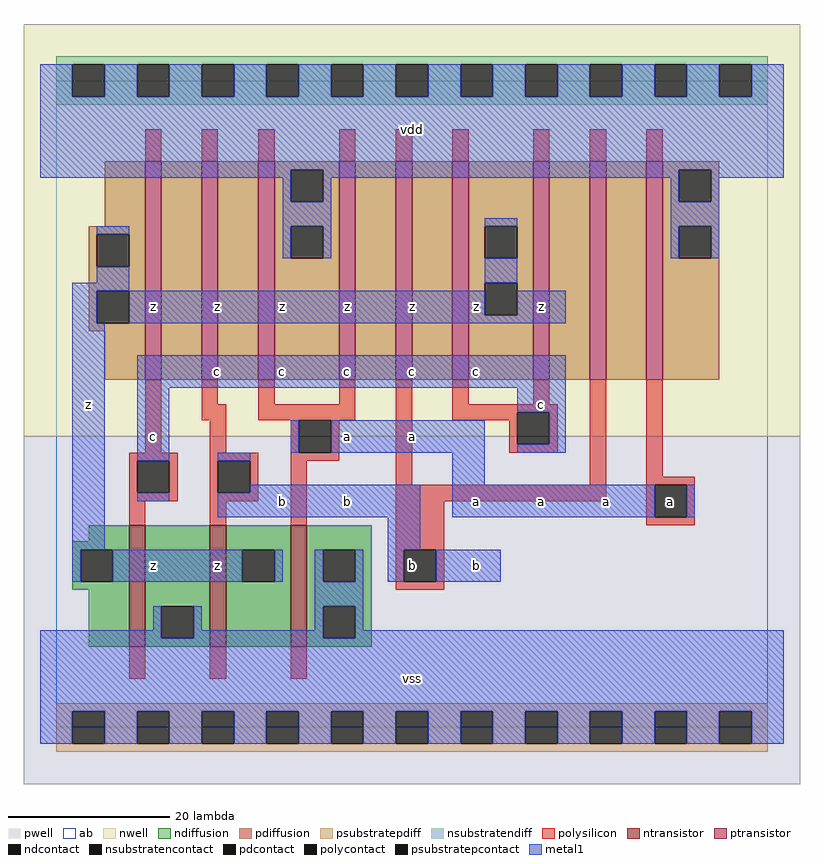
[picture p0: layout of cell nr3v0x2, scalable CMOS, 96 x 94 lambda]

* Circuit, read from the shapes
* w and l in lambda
.subckt nr3v0x2 a b c vdd vss z
M1 vss c z vss nfet w=15 l=2
M2 z b vss vss nfet w=15 l=2
M3 vss a z vss nfet w=15 l=2
M4 n1 c z vdd pfet w=27 l=2
M5 n2 b n1 vdd pfet w=27 l=2
M6 vdd a n2 vdd pfet w=27 l=2
M7 n3 a vdd vdd pfet w=27 l=2
M8 n4 b n3 vdd pfet w=27 l=2
M9 z c n4 vdd pfet w=27 l=2
M10 n5 c z vdd pfet w=27 l=2
M11 n6 b n5 vdd pfet w=27 l=2
M12 vdd a n6 vdd pfet w=27 l=2
.ends

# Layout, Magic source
magic
tech scmos
<< ab >>
rect 0 0 88 80
<< pwell >>
rect -4 -7 92 36
<< nwell >>
rect -4 36 92 87
<< polysilicon >>
rect 11 70 13 74
rect 18 70 20 74
rect 25 70 27 74
rect 35 70 37 74
rect 42 70 44 74
rect 49 70 51 74
rect 59 70 61 74
rect 66 70 68 74
rect 73 70 75 74
rect 11 34 13 43
rect 18 40 20 43
rect 25 40 27 43
rect 35 40 37 43
rect 18 38 21 40
rect 25 38 37 40
rect 19 34 21 38
rect 29 34 30 38
rect 34 34 35 38
rect 9 33 15 34
rect 9 29 10 33
rect 14 29 15 33
rect 9 28 15 29
rect 19 33 25 34
rect 19 29 20 33
rect 24 29 25 33
rect 19 28 25 29
rect 29 33 35 34
rect 9 25 11 28
rect 19 25 21 28
rect 29 25 31 33
rect 42 30 44 43
rect 49 40 51 43
rect 59 40 61 43
rect 49 39 62 40
rect 49 38 57 39
rect 56 35 57 38
rect 61 35 62 39
rect 56 34 62 35
rect 66 30 68 43
rect 42 28 68 30
rect 73 31 75 43
rect 73 30 79 31
rect 42 22 48 28
rect 73 26 74 30
rect 78 26 79 30
rect 73 25 79 26
rect 42 18 43 22
rect 47 18 48 22
rect 42 17 48 18
rect 9 6 11 10
rect 19 6 21 10
rect 29 6 31 10
<< ndiffusion >>
rect 4 23 9 25
rect 2 22 9 23
rect 2 18 3 22
rect 7 18 9 22
rect 2 17 9 18
rect 4 10 9 17
rect 11 15 19 25
rect 11 11 13 15
rect 17 11 19 15
rect 11 10 19 11
rect 21 22 29 25
rect 21 18 23 22
rect 27 18 29 22
rect 21 10 29 18
rect 31 22 39 25
rect 31 18 33 22
rect 37 18 39 22
rect 31 15 39 18
rect 31 11 33 15
rect 37 11 39 15
rect 31 10 39 11
<< pdiffusion >>
rect 6 62 11 70
rect 4 61 11 62
rect 4 57 5 61
rect 9 57 11 61
rect 4 54 11 57
rect 4 50 5 54
rect 9 50 11 54
rect 4 49 11 50
rect 6 43 11 49
rect 13 43 18 70
rect 20 43 25 70
rect 27 69 35 70
rect 27 65 29 69
rect 33 65 35 69
rect 27 62 35 65
rect 27 58 29 62
rect 33 58 35 62
rect 27 43 35 58
rect 37 43 42 70
rect 44 43 49 70
rect 51 62 59 70
rect 51 58 53 62
rect 57 58 59 62
rect 51 55 59 58
rect 51 51 53 55
rect 57 51 59 55
rect 51 43 59 51
rect 61 43 66 70
rect 68 43 73 70
rect 75 69 82 70
rect 75 65 77 69
rect 81 65 82 69
rect 75 62 82 65
rect 75 58 77 62
rect 81 58 82 62
rect 75 43 82 58
<< metal1 >>
rect -2 78 2 82
rect 6 78 10 82
rect 14 78 18 82
rect 22 78 26 82
rect 30 78 34 82
rect 38 78 42 82
rect 46 78 50 82
rect 54 78 58 82
rect 62 78 66 82
rect 70 78 74 82
rect 78 78 82 82
rect 86 78 90 82
rect -2 69 90 78
rect -2 68 29 69
rect 28 65 29 68
rect 33 68 77 69
rect 33 65 34 68
rect 28 62 34 65
rect 76 65 77 68
rect 81 68 90 69
rect 81 65 82 68
rect 5 61 9 62
rect 28 58 29 62
rect 33 58 34 62
rect 53 62 57 63
rect 76 62 82 65
rect 76 58 77 62
rect 81 58 82 62
rect 5 55 9 57
rect 2 54 9 55
rect 53 55 57 58
rect 2 50 5 54
rect 9 51 53 54
rect 57 51 63 54
rect 9 50 63 51
rect 2 22 6 50
rect 10 42 63 46
rect 10 33 14 42
rect 57 39 63 42
rect 29 34 30 38
rect 34 34 53 38
rect 61 35 63 39
rect 57 34 63 35
rect 10 28 14 29
rect 20 33 24 34
rect 49 30 53 34
rect 24 29 45 30
rect 20 26 45 29
rect 49 26 74 30
rect 78 26 79 30
rect 41 22 45 26
rect 2 18 3 22
rect 7 18 23 22
rect 27 18 28 22
rect 32 18 33 22
rect 37 18 38 22
rect 41 18 43 22
rect 47 18 55 22
rect 32 15 38 18
rect 12 12 13 15
rect -2 11 13 12
rect 17 12 18 15
rect 32 12 33 15
rect 17 11 33 12
rect 37 12 38 15
rect 37 11 90 12
rect -2 2 90 11
rect -2 -2 2 2
rect 6 -2 10 2
rect 14 -2 18 2
rect 22 -2 26 2
rect 30 -2 34 2
rect 38 -2 42 2
rect 46 -2 50 2
rect 54 -2 58 2
rect 62 -2 66 2
rect 70 -2 74 2
rect 78 -2 82 2
rect 86 -2 90 2
<< ntransistor >>
rect 9 10 11 25
rect 19 10 21 25
rect 29 10 31 25
<< ptransistor >>
rect 11 43 13 70
rect 18 43 20 70
rect 25 43 27 70
rect 35 43 37 70
rect 42 43 44 70
rect 49 43 51 70
rect 59 43 61 70
rect 66 43 68 70
rect 73 43 75 70
<< polycontact >>
rect 30 34 34 38
rect 10 29 14 33
rect 20 29 24 33
rect 57 35 61 39
rect 74 26 78 30
rect 43 18 47 22
<< ndcontact >>
rect 3 18 7 22
rect 13 11 17 15
rect 23 18 27 22
rect 33 18 37 22
rect 33 11 37 15
<< pdcontact >>
rect 5 57 9 61
rect 5 50 9 54
rect 29 65 33 69
rect 29 58 33 62
rect 53 58 57 62
rect 53 51 57 55
rect 77 65 81 69
rect 77 58 81 62
<< psubstratepcontact >>
rect 2 -2 6 2
rect 10 -2 14 2
rect 18 -2 22 2
rect 26 -2 30 2
rect 34 -2 38 2
rect 42 -2 46 2
rect 50 -2 54 2
rect 58 -2 62 2
rect 66 -2 70 2
rect 74 -2 78 2
rect 82 -2 86 2
<< nsubstratencontact >>
rect 2 78 6 82
rect 10 78 14 82
rect 18 78 22 82
rect 26 78 30 82
rect 34 78 38 82
rect 42 78 46 82
rect 50 78 54 82
rect 58 78 62 82
rect 66 78 70 82
rect 74 78 78 82
rect 82 78 86 82
<< psubstratepdiff >>
rect 0 2 88 3
rect 0 -2 2 2
rect 6 -2 10 2
rect 14 -2 18 2
rect 22 -2 26 2
rect 30 -2 34 2
rect 38 -2 42 2
rect 46 -2 50 2
rect 54 -2 58 2
rect 62 -2 66 2
rect 70 -2 74 2
rect 78 -2 82 2
rect 86 -2 88 2
rect 0 -3 88 -2
<< nsubstratendiff >>
rect 0 82 88 83
rect 0 78 2 82
rect 6 78 10 82
rect 14 78 18 82
rect 22 78 26 82
rect 30 78 34 82
rect 38 78 42 82
rect 46 78 50 82
rect 54 78 58 82
rect 62 78 66 82
rect 70 78 74 82
rect 78 78 82 82
rect 86 78 88 82
rect 0 77 88 78
<< labels >>
rlabel metal1 12 20 12 20 6 z
rlabel metal1 4 40 4 40 6 z
rlabel metal1 12 36 12 36 6 c
rlabel metal1 12 52 12 52 6 z
rlabel metal1 20 20 20 20 6 z
rlabel metal1 28 28 28 28 6 b
rlabel metal1 20 44 20 44 6 c
rlabel metal1 28 44 28 44 6 c
rlabel metal1 20 52 20 52 6 z
rlabel metal1 28 52 28 52 6 z
rlabel metal1 44 6 44 6 6 vss
rlabel metal1 36 28 36 28 6 b
rlabel polycontact 44 20 44 20 6 b
rlabel metal1 36 36 36 36 6 a
rlabel metal1 36 44 36 44 6 c
rlabel metal1 44 36 44 36 6 a
rlabel metal1 44 44 44 44 6 c
rlabel metal1 44 52 44 52 6 z
rlabel metal1 36 52 36 52 6 z
rlabel metal1 44 74 44 74 6 vdd
rlabel metal1 52 20 52 20 6 b
rlabel metal1 52 28 52 28 6 a
rlabel metal1 60 28 60 28 6 a
rlabel metal1 68 28 68 28 6 a
rlabel metal1 52 44 52 44 6 c
rlabel metal1 60 40 60 40 6 c
rlabel metal1 60 52 60 52 6 z
rlabel metal1 52 52 52 52 6 z
rlabel polycontact 76 28 76 28 6 a
<< end >>
